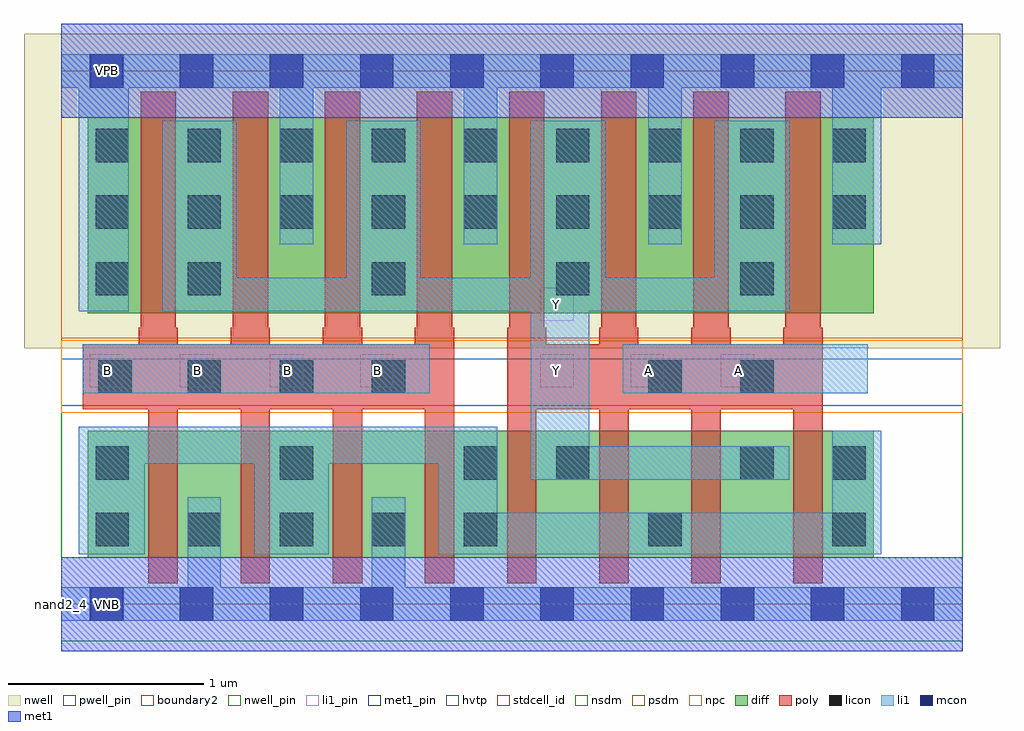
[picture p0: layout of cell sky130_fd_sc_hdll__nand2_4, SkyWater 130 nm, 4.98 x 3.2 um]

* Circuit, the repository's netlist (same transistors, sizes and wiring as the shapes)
* Copyright 2020 The SkyWater PDK Authors
*
* Licensed under the Apache License, Version 2.0 (the "License");
* you may not use this file except in compliance with the License.
* You may obtain a copy of the License at
*
*     https://www.apache.org/licenses/LICENSE-2.0
*
* Unless required by applicable law or agreed to in writing, software
* distributed under the License is distributed on an "AS IS" BASIS,
* WITHOUT WARRANTIES OR CONDITIONS OF ANY KIND, either express or implied.
* See the License for the specific language governing permissions and
* limitations under the License.
*
* SPDX-License-Identifier: Apache-2.0

.SUBCKT sky130_fd_sc_hdll__nand2_4 A B VGND VNB VPB VPWR Y
*.PININFO A:I B:I VGND:I VNB:I VPB:I VPWR:I Y:O
MMP0 Y A VPWR VPB sky130_fd_pr__pfet_01v8_hvt m=4 w=1.0U l=0.18U mult=1 sa=0.265
+ sb=0.265 sd=0.28 area=0.063 perim=1.14
MMP1 Y B VPWR VPB sky130_fd_pr__pfet_01v8_hvt m=4 w=1.0U l=0.18U mult=1 sa=0.265
+ sb=0.265 sd=0.28 area=0.063 perim=1.14
MMN0 Y A sndA VNB sky130_fd_pr__nfet_01v8 m=4 w=0.65U l=0.15U mult=1 sa=0.265 sb=0.265
+ sd=0.28 area=0.063 perim=1.14
MMN1 sndA B VGND VNB sky130_fd_pr__nfet_01v8 m=4 w=0.65U l=0.15U mult=1 sa=0.265
+ sb=0.265 sd=0.28 area=0.063 perim=1.14
.ENDS sky130_fd_sc_hdll__nand2_4

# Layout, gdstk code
import gdstk
lib = gdstk.Library(unit=1e-6, precision=1e-09)
def R(c, l, rs):  # rectangles x0, y0, x1, y1
    for r in rs: c.add(gdstk.rectangle(r[:2], r[2:], *l))
def A(c, l, x, y, w, h, nx, ny, dx, dy):  # array of equal rectangles
    R(c, l, [(x+i*dx, y+j*dy, x+i*dx+w, y+j*dy+h) for i in range(nx) for j in range(ny)])
def P(c, l, *ps):  # polygons
    for p in ps: c.add(gdstk.Polygon(p, *l))
nwell_pin = (64, 16)
nwell = (64, 20)
diff = (65, 20)
poly = (66, 20)
licon = (66, 44)
li1_pin = (67, 16)
li1 = (67, 20)
mcon = (67, 44)
met1_pin = (68, 16)
met1 = (68, 20)
hvtp = (78, 44)
stdcell_id = (81, 4)
nsdm = (93, 44)
psdm = (94, 20)
npc = (95, 20)
pwell_pin = (122, 16)
boundary2 = (236, 0)

sky130_fd_sc_hdll__nand2 = lib.new_cell('sky130_fd_sc_hdll__nand2_4')
R(sky130_fd_sc_hdll__nand2, nwell_pin, [(0.15,2.635,0.32,2.805)])
R(sky130_fd_sc_hdll__nand2, nwell, [(-0.19,1.305,4.79,2.91)])
R(sky130_fd_sc_hdll__nand2, diff, [(0.135,0.235,4.145,0.885), (0.135,1.485,4.145,2.485)])
P(sky130_fd_sc_hdll__nand2, poly, [(2.005,1.41),(1.995,1.41),(1.995,2.615),(1.815,2.615),(1.815,1.41),(1.805,1.41),(1.805,1.325),(1.535,1.325),(1.535,1.41),(1.525,1.41),(1.525,2.615),(1.345,2.615),(1.345,1.41),(1.335,1.41),(1.335,1.325),(1.065,1.325),(1.065,1.41),(1.055,1.41),(1.055,2.615),(0.875,2.615),(0.875,1.41),(0.865,1.41),(0.865,1.325),(0.595,1.325),(0.595,1.41),(0.585,1.41),(0.585,2.615),(0.405,2.615),(0.405,1.41),(0.395,1.41),(0.395,1.325),(0.11,1.325),(0.11,0.995),(0.445,0.995),(0.445,0.105),(0.595,0.105),(0.595,0.995),(0.915,0.995),(0.915,0.105),(1.065,0.105),(1.065,0.995),(1.385,0.995),(1.385,0.105),(1.535,0.105),(1.535,0.995),(1.855,0.995),(1.855,0.105),(2.005,0.105)],
  [(3.885,1.41),(3.875,1.41),(3.875,2.615),(3.695,2.615),(3.695,1.41),(3.685,1.41),(3.685,1.325),(3.415,1.325),(3.415,1.41),(3.405,1.41),(3.405,2.615),(3.225,2.615),(3.225,1.41),(3.215,1.41),(3.215,1.325),(2.945,1.325),(2.945,1.41),(2.935,1.41),(2.935,2.615),(2.755,2.615),(2.755,1.41),(2.745,1.41),(2.745,1.325),(2.475,1.325),(2.475,1.41),(2.465,1.41),(2.465,2.615),(2.285,2.615),(2.285,1.41),(2.275,1.41),(2.275,0.105),(2.425,0.105),(2.425,0.995),(2.745,0.995),(2.745,0.105),(2.895,0.105),(2.895,0.995),(3.215,0.995),(3.215,0.105),(3.365,0.105),(3.365,0.995),(3.735,0.995),(3.735,0.105),(3.885,0.105)])
A(sky130_fd_sc_hdll__nand2, licon, 0.175, 0.295, 0.17, 0.17, 5, 1, 0.47, 0)
A(sky130_fd_sc_hdll__nand2, licon, 0.175, 0.635, 0.17, 0.17, 3, 1, 0.94, 0)
A(sky130_fd_sc_hdll__nand2, licon, 0.645, 1.075, 0.17, 0.17, 3, 1, 0.47, 0)
A(sky130_fd_sc_hdll__nand2, licon, 0.645, 1.575, 0.17, 0.17, 4, 1, 0.94, 0)
A(sky130_fd_sc_hdll__nand2, licon, 0.175, 1.915, 0.17, 0.17, 9, 2, 0.47, 0.34)
R(sky130_fd_sc_hdll__nand2, licon, [(2.995,0.295,3.165,0.465), (3.935,0.295,4.105,0.465), (2.525,0.635,2.695,0.805), (3.465,0.635,3.635,0.805), (3.935,0.635,4.105,0.805), (0.19,1.075,0.36,1.245), (2.995,1.075,3.165,1.245), (3.465,1.075,3.635,1.245), (0.175,1.575,0.345,1.745)])
A(sky130_fd_sc_hdll__nand2, li1_pin, 0.145, 1.105, 0.17, 0.17, 4, 1, 0.46, 0)
A(sky130_fd_sc_hdll__nand2, li1_pin, 2.445, 1.105, 0.17, 0.17, 3, 1, 0.46, 0)
R(sky130_fd_sc_hdll__nand2, li1_pin, [(2.445,1.445,2.615,1.615)])
R(sky130_fd_sc_hdll__nand2, li1, [(0.11,1.075,1.88,1.325), (2.865,1.075,4.115,1.325)])
P(sky130_fd_sc_hdll__nand2, li1, [(4.6,0.085),(1.755,0.085),(1.755,0.545),(1.585,0.545),(1.585,0.085),(0.815,0.085),(0.815,0.545),(0.645,0.545),(0.645,0.085),(0,0.085),(0,-0.085),(4.6,-0.085)],
  [(4.6,2.805),(0,2.805),(0,2.635),(0.09,2.635),(0.09,1.495),(0.345,1.495),(0.345,2.635),(1.115,2.635),(1.115,1.835),(1.285,1.835),(1.285,2.635),(2.055,2.635),(2.055,1.835),(2.225,1.835),(2.225,2.635),(2.995,2.635),(2.995,1.835),(3.165,1.835),(3.165,2.635),(3.935,2.635),(3.935,1.835),(4.185,1.835),(4.185,2.635),(4.6,2.635)],
  [(4.185,0.885),(3.935,0.885),(3.935,0.465),(2.225,0.465),(2.225,0.905),(0.09,0.905),(0.09,0.255),(0.425,0.255),(0.425,0.715),(0.985,0.715),(0.985,0.255),(1.365,0.255),(1.365,0.715),(1.925,0.715),(1.925,0.255),(4.185,0.255)],
  [(3.715,0.805),(2.695,0.805),(2.695,1.495),(3.715,1.495),(3.715,2.465),(3.335,2.465),(3.335,1.665),(2.775,1.665),(2.775,2.465),(2.395,2.465),(2.395,1.665),(1.835,1.665),(1.835,2.465),(1.455,2.465),(1.455,1.665),(0.895,1.665),(0.895,2.465),(0.515,2.465),(0.515,1.495),(2.395,1.495),(2.395,0.635),(3.715,0.635)])
A(sky130_fd_sc_hdll__nand2, mcon, 0.145, -0.085, 0.17, 0.17, 10, 2, 0.46, 2.72)
R(sky130_fd_sc_hdll__nand2, met1_pin, [(0.15,-0.085,0.32,0.085), (0.15,2.635,0.32,2.805)])
R(sky130_fd_sc_hdll__nand2, met1, [(0,-0.24,4.6,0.24), (0,2.48,4.6,2.96)])
R(sky130_fd_sc_hdll__nand2, hvtp, [(0,1.25,4.6,2.72)])
R(sky130_fd_sc_hdll__nand2, stdcell_id, [(0,0,4.6,2.72)])
R(sky130_fd_sc_hdll__nand2, nsdm, [(0,-0.19,4.6,1.015)])
R(sky130_fd_sc_hdll__nand2, psdm, [(0,1.355,4.6,2.91)])
R(sky130_fd_sc_hdll__nand2, npc, [(0,0.975,4.6,1.345)])
R(sky130_fd_sc_hdll__nand2, pwell_pin, [(0.15,-0.085,0.32,0.085)])
R(sky130_fd_sc_hdll__nand2, boundary2, [(0,0,4.6,2.72)])
sky130_fd_sc_hdll__nand2.add(gdstk.Label('Y', (2.525,1.19), layer=67, texttype=5))
sky130_fd_sc_hdll__nand2.add(gdstk.Label('Y', (2.525,1.53), layer=67, texttype=5))
sky130_fd_sc_hdll__nand2.add(gdstk.Label('A', (3.455,1.19), layer=67, texttype=5))
sky130_fd_sc_hdll__nand2.add(gdstk.Label('A', (2.995,1.19), layer=67, texttype=5))
sky130_fd_sc_hdll__nand2.add(gdstk.Label('B', (1.615,1.19), layer=67, texttype=5))
sky130_fd_sc_hdll__nand2.add(gdstk.Label('B', (1.155,1.19), layer=67, texttype=5))
sky130_fd_sc_hdll__nand2.add(gdstk.Label('B', (0.235,1.19), layer=67, texttype=5))
sky130_fd_sc_hdll__nand2.add(gdstk.Label('B', (0.695,1.19), layer=67, texttype=5))
sky130_fd_sc_hdll__nand2.add(gdstk.Label('VPB', (0.235,2.72), layer=64, texttype=5))
sky130_fd_sc_hdll__nand2.add(gdstk.Label('VNB', (0.235,0), layer=64, texttype=59))
sky130_fd_sc_hdll__nand2.add(gdstk.Label('VGND', (0.235,0), layer=68, texttype=5))
sky130_fd_sc_hdll__nand2.add(gdstk.Label('VPWR', (0.235,2.72), layer=68, texttype=5))
sky130_fd_sc_hdll__nand2.add(gdstk.Label('nand2_4', (0,0), layer=83, texttype=44))

lib.write_gds('sky130_fd_sc_hdll__nand2_4.gds')
